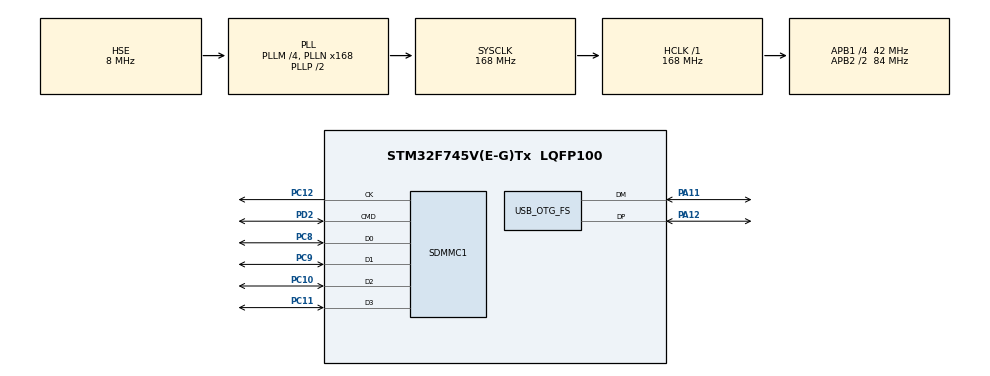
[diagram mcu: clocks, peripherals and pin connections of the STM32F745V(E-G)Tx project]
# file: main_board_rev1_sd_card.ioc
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Dma.Request0=SDMMC1_RX
Dma.Request1=SDMMC1_TX
Dma.SDMMC1_RX.0.Direction=DMA_PERIPH_TO_MEMORY
Dma.SDMMC1_RX.0.FIFOMode=DMA_FIFOMODE_ENABLE
Dma.SDMMC1_RX.0.FIFOThreshold=DMA_FIFO_THRESHOLD_FULL
Dma.SDMMC1_RX.0.Instance=DMA2_Stream3
Dma.SDMMC1_RX.0.MemBurst=DMA_MBURST_INC4
Dma.SDMMC1_RX.0.MemDataAlignment=DMA_MDATAALIGN_WORD
Dma.SDMMC1_RX.0.MemInc=DMA_MINC_ENABLE
Dma.SDMMC1_RX.0.Mode=DMA_PFCTRL
Dma.SDMMC1_RX.0.PeriphBurst=DMA_PBURST_INC4
Dma.SDMMC1_RX.0.PeriphDataAlignment=DMA_PDATAALIGN_WORD
Dma.SDMMC1_RX.0.PeriphInc=DMA_PINC_DISABLE
Dma.SDMMC1_RX.0.Priority=DMA_PRIORITY_LOW
Dma.SDMMC1_TX.1.Direction=DMA_MEMORY_TO_PERIPH
Dma.SDMMC1_TX.1.FIFOMode=DMA_FIFOMODE_ENABLE
Dma.SDMMC1_TX.1.FIFOThreshold=DMA_FIFO_THRESHOLD_FULL
Dma.SDMMC1_TX.1.Instance=DMA2_Stream6
Dma.SDMMC1_TX.1.MemBurst=DMA_MBURST_INC4
Dma.SDMMC1_TX.1.MemDataAlignment=DMA_MDATAALIGN_WORD
Dma.SDMMC1_TX.1.MemInc=DMA_MINC_ENABLE
Dma.SDMMC1_TX.1.Mode=DMA_PFCTRL
Dma.SDMMC1_TX.1.PeriphBurst=DMA_PBURST_INC4
Dma.SDMMC1_TX.1.PeriphDataAlignment=DMA_PDATAALIGN_WORD
Dma.SDMMC1_TX.1.PeriphInc=DMA_PINC_DISABLE
Dma.SDMMC1_TX.1.Priority=DMA_PRIORITY_LOW
FATFS._USE_FIND=1
FREERTOS.Tasks01=defaultTask,24,128,StartDefaultTask,Default,NULL,Dynamic,NULL,NULL;task_template,24,1024,vTaskTemplate,As external,NULL,Static,task_templateBuffer,task_templateControlBlock;task_sd_card,24,1024,vTaskSdCard,As external,NULL,Static,task_sd_cardBuffer,task_sd_cardControlBlock;task_sens_read,24,1024,vTaskSensRead,As external,NULL,Static,task_sens_readBuffer,task_sens_readControlBlock
Mcu.Family=STM32F7
Mcu.Name=STM32F745V(E-G)Tx
Mcu.Package=LQFP100
NVIC.DMA2_Stream3_IRQn=true\:5\:0\:false\:false\:true\:true\:false\:true
NVIC.DMA2_Stream6_IRQn=true\:5\:0\:false\:false\:true\:true\:false\:true
NVIC.OTG_FS_IRQn=true\:5\:0\:false\:false\:true\:true\:false\:true
NVIC.PriorityGroup=NVIC_PRIORITYGROUP_4
NVIC.SDMMC1_IRQn=true\:5\:0\:false\:false\:true\:true\:true\:true
NVIC.TIM4_IRQn=true\:0\:0\:false\:false\:true\:false\:false\:true
NVIC.TimeBase=TIM4_IRQn
NVIC.TimeBaseIP=TIM4
PA11.Mode=Device_Only
PA11.Signal=USB_OTG_FS_DM
PA12.Mode=Device_Only
PA12.Signal=USB_OTG_FS_DP
PA13.Mode=Serial_Wire
PA13.Signal=SYS_JTMS-SWDIO
PA14.Mode=Serial_Wire
PA14.Signal=SYS_JTCK-SWCLK
PC10.GPIO_PuPd=GPIO_PULLUP
PC10.Mode=SD_4_bits_Wide_bus
PC10.Signal=SDMMC1_D2
PC11.GPIO_PuPd=GPIO_PULLUP
PC11.Mode=SD_4_bits_Wide_bus
PC11.Signal=SDMMC1_D3
PC12.Mode=SD_4_bits_Wide_bus
PC12.Signal=SDMMC1_CK
PC8.GPIO_PuPd=GPIO_PULLUP
PC8.Mode=SD_4_bits_Wide_bus
PC8.Signal=SDMMC1_D0
PC9.GPIO_PuPd=GPIO_PULLUP
PC9.Mode=SD_4_bits_Wide_bus
PC9.Signal=SDMMC1_D1
PD2.GPIO_PuPd=GPIO_PULLUP
PD2.Mode=SD_4_bits_Wide_bus
PD2.Signal=SDMMC1_CMD
PH0/OSC_IN.Mode=HSE-External-Oscillator
PH0/OSC_IN.Signal=RCC_OSC_IN
PH1/OSC_OUT.Mode=HSE-External-Oscillator
PH1/OSC_OUT.Signal=RCC_OSC_OUT
ProjectManager.HeapSize=0x200
ProjectManager.StackSize=0x400
ProjectManager.TargetToolchain=STM32CubeIDE
RCC.AHBFreq_Value=168000000
RCC.APB1CLKDivider=RCC_HCLK_DIV4
RCC.APB1Freq_Value=42000000
RCC.APB1TimFreq_Value=84000000
RCC.APB2CLKDivider=RCC_HCLK_DIV2
RCC.APB2Freq_Value=84000000
RCC.APB2TimFreq_Value=168000000
RCC.CortexFreq_Value=168000000
RCC.HCLKFreq_Value=168000000
RCC.HSE_VALUE=8000000
RCC.HSI_VALUE=16000000
RCC.LSE_VALUE=32768
RCC.PLLM=4
RCC.PLLN=168
RCC.PLLQ=7
RCC.SDMMCClockSelection=RCC_SDMMC1CLKSOURCE_CLK48
RCC.SYSCLKFreq_VALUE=168000000
RCC.SYSCLKSource=RCC_SYSCLKSOURCE_PLLCLK
RCC.USBFreq_Value=48000000
RCC.VCOOutputFreq_Value=336000000
USB_DEVICE.CLASS_NAME_FS=CDC
USB_DEVICE.VirtualMode-CDC_FS=Cdc
USB_DEVICE.VirtualModeFS=Cdc_FS
USB_OTG_FS.VirtualMode=Device_Only
VP_FATFS_VS_SDIO.Mode=SDIO
VP_FREERTOS_VS_CMSIS_V2.Mode=CMSIS_V2
VP_SYS_VS_tim4.Mode=TIM4
VP_USB_DEVICE_VS_USB_DEVICE_CDC_FS.Mode=CDC_FS
board=custom

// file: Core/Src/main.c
/* USER CODE BEGIN Header */
/**
  ******************************************************************************
  * @file           : main.c
  * @brief          : Main program body
  ******************************************************************************
  * @attention
  *
  * <h2><center>&copy; Copyright (c) 2020 STMicroelectronics.
  * All rights reserved.</center></h2>
  *
  * This software component is licensed by ST under BSD 3-Clause license,
  * the "License"; You may not use this file except in compliance with the
  * License. You may obtain a copy of the License at:
  *                        opensource.org/licenses/BSD-3-Clause
  *
  ******************************************************************************
  */
/* USER CODE END Header */

#include "main.h"
#include "cmsis_os.h"
#include "fatfs.h"
#include "usb_device.h"

/* USER CODE BEGIN Includes */
#include "util.h"
#include "tasks/task_template.h"
/* USER CODE END Includes */

typedef StaticTask_t osStaticThreadDef_t;

SD_HandleTypeDef hsd1;
DMA_HandleTypeDef hdma_sdmmc1_rx;
DMA_HandleTypeDef hdma_sdmmc1_tx;

/* Definitions for defaultTask */
osThreadId_t defaultTaskHandle;
const osThreadAttr_t defaultTask_attributes = {
  .name = "defaultTask",
  .priority = (osPriority_t) osPriorityNormal,
  .stack_size = 128 * 4
};
/* Definitions for task_template */
osThreadId_t task_templateHandle;
uint32_t task_templateBuffer[ 1024 ];
osStaticThreadDef_t task_templateControlBlock;
const osThreadAttr_t task_template_attributes = {
  .name = "task_template",
  .stack_mem = &task_templateBuffer[0],
  .stack_size = sizeof(task_templateBuffer),
  .cb_mem = &task_templateControlBlock,
  .cb_size = sizeof(task_templateControlBlock),
  .priority = (osPriority_t) osPriorityNormal,
};
/* Definitions for task_sd_card */
osThreadId_t task_sd_cardHandle;
uint32_t task_sd_cardBuffer[ 1024 ];
osStaticThreadDef_t task_sd_cardControlBlock;
const osThreadAttr_t task_sd_card_attributes = {
  .name = "task_sd_card",
  .stack_mem = &task_sd_cardBuffer[0],
  .stack_size = sizeof(task_sd_cardBuffer),
  .cb_mem = &task_sd_cardControlBlock,
  .cb_size = sizeof(task_sd_cardControlBlock),
  .priority = (osPriority_t) osPriorityNormal,
};
/* Definitions for task_sens_read */
osThreadId_t task_sens_readHandle;
uint32_t task_sens_readBuffer[ 1024 ];
osStaticThreadDef_t task_sens_readControlBlock;
const osThreadAttr_t task_sens_read_attributes = {
  .name = "task_sens_read",
  .stack_mem = &task_sens_readBuffer[0],
  .stack_size = sizeof(task_sens_readBuffer),
  .cb_mem = &task_sens_readControlBlock,
  .cb_size = sizeof(task_sens_readControlBlock),
  .priority = (osPriority_t) osPriorityNormal,
};
/* USER CODE BEGIN PV */
osMessageQueueId_t log_queue;
/* USER CODE END PV */

void SystemClock_Config(void);
static void MX_GPIO_Init(void);
static void MX_DMA_Init(void);
static void MX_SDMMC1_SD_Init(void);
void StartDefaultTask(void *argument);
extern void vTaskTemplate(void *argument);
extern void vTaskSdCard(void *argument);
extern void vTaskSensRead(void *argument);

int main(void)
{

  /* MCU Configuration--------------------------------------------------------*/

  /* Reset of all peripherals, Initializes the Flash interface and the Systick. */
  HAL_Init();

  /* Configure the system clock */
  SystemClock_Config();

  /* USER CODE BEGIN SysInit */
  (DBGMCU)->APB1FZ = 0x7E01BFF;
  (DBGMCU)->APB2FZ = 0x70003;
  /* init code for USB_DEVICE */
  MX_USB_DEVICE_Init();
  /* USER CODE END SysInit */

  /* Initialize all configured peripherals */
  MX_GPIO_Init();
  MX_DMA_Init();
  MX_SDMMC1_SD_Init();
  MX_FATFS_Init();

  /* Init scheduler */
  osKernelInitialize();

  /* USER CODE BEGIN RTOS_MUTEX */
  /* Print Mutex */

#ifdef DEBUG
  const osMutexAttr_t print_mutex_attr = {
    "print_mutex",                            // human readable mutex name
    osMutexPrioInherit,    					  // attr_bits
    NULL,                                     // memory for control block
    0U                                        // size for control block
  };
  print_mutex = osMutexNew(&print_mutex_attr);
#endif

  /* USER CODE END RTOS_MUTEX */

  /* USER CODE BEGIN RTOS_QUEUES */
  log_queue = osMessageQueueNew(LOG_QUEUE_SIZE, sizeof(log_entry_t), NULL);
  /* USER CODE END RTOS_QUEUES */

  /* Create the thread(s) */
  /* creation of defaultTask */
  defaultTaskHandle = osThreadNew(StartDefaultTask, NULL, &defaultTask_attributes);

  /* creation of task_template */
  task_templateHandle = osThreadNew(vTaskTemplate, NULL, &task_template_attributes);

  /* creation of task_sd_card */
  task_sd_cardHandle = osThreadNew(vTaskSdCard, NULL, &task_sd_card_attributes);

  /* creation of task_sens_read */
  task_sens_readHandle = osThreadNew(vTaskSensRead, NULL, &task_sens_read_attributes);

  /* Start scheduler */
  osKernelStart();

  /* We should never get here as control is now taken by the scheduler */
  /* Infinite loop */
  while (1)
  {

  }
}

void SystemClock_Config(void)
{
  RCC_OscInitTypeDef RCC_OscInitStruct = {0};
  RCC_ClkInitTypeDef RCC_ClkInitStruct = {0};
  RCC_PeriphCLKInitTypeDef PeriphClkInitStruct = {0};

  /** Configure the main internal regulator output voltage
  */
  __HAL_RCC_PWR_CLK_ENABLE();
  __HAL_PWR_VOLTAGESCALING_CONFIG(PWR_REGULATOR_VOLTAGE_SCALE2);
  /** Initializes the CPU, AHB and APB busses clocks
  */
  RCC_OscInitStruct.OscillatorType = RCC_OSCILLATORTYPE_HSE;
  RCC_OscInitStruct.HSEState = RCC_HSE_ON;
  RCC_OscInitStruct.PLL.PLLState = RCC_PLL_ON;
  RCC_OscInitStruct.PLL.PLLSource = RCC_PLLSOURCE_HSE;
  RCC_OscInitStruct.PLL.PLLM = 4;
  RCC_OscInitStruct.PLL.PLLN = 168;
  RCC_OscInitStruct.PLL.PLLP = RCC_PLLP_DIV2;
  RCC_OscInitStruct.PLL.PLLQ = 7;
  if (HAL_RCC_OscConfig(&RCC_OscInitStruct) != HAL_OK)
  {
    Error_Handler();
  }
  /** Initializes the CPU, AHB and APB busses clocks
  */
  RCC_ClkInitStruct.ClockType = RCC_CLOCKTYPE_HCLK|RCC_CLOCKTYPE_SYSCLK
                              |RCC_CLOCKTYPE_PCLK1|RCC_CLOCKTYPE_PCLK2;
  RCC_ClkInitStruct.SYSCLKSource = RCC_SYSCLKSOURCE_PLLCLK;
  RCC_ClkInitStruct.AHBCLKDivider = RCC_SYSCLK_DIV1;
  RCC_ClkInitStruct.APB1CLKDivider = RCC_HCLK_DIV4;
  RCC_ClkInitStruct.APB2CLKDivider = RCC_HCLK_DIV2;

  if (HAL_RCC_ClockConfig(&RCC_ClkInitStruct, FLASH_LATENCY_5) != HAL_OK)
  {
    Error_Handler();
  }
  PeriphClkInitStruct.PeriphClockSelection = RCC_PERIPHCLK_SDMMC1|RCC_PERIPHCLK_CLK48;
  PeriphClkInitStruct.Clk48ClockSelection = RCC_CLK48SOURCE_PLL;
  PeriphClkInitStruct.Sdmmc1ClockSelection = RCC_SDMMC1CLKSOURCE_CLK48;
  if (HAL_RCCEx_PeriphCLKConfig(&PeriphClkInitStruct) != HAL_OK)
  {
    Error_Handler();
  }
}

static void MX_SDMMC1_SD_Init(void)
{

  hsd1.Instance = SDMMC1;
  hsd1.Init.ClockEdge = SDMMC_CLOCK_EDGE_RISING;
  hsd1.Init.ClockBypass = SDMMC_CLOCK_BYPASS_DISABLE;
  hsd1.Init.ClockPowerSave = SDMMC_CLOCK_POWER_SAVE_DISABLE;
  hsd1.Init.BusWide = SDMMC_BUS_WIDE_1B;
  hsd1.Init.HardwareFlowControl = SDMMC_HARDWARE_FLOW_CONTROL_DISABLE;
  hsd1.Init.ClockDiv = 0;

}

static void MX_DMA_Init(void)
{

  /* DMA controller clock enable */
  __HAL_RCC_DMA2_CLK_ENABLE();

  /* DMA interrupt init */
  /* DMA2_Stream3_IRQn interrupt configuration */
  HAL_NVIC_SetPriority(DMA2_Stream3_IRQn, 5, 0);
  HAL_NVIC_EnableIRQ(DMA2_Stream3_IRQn);
  /* DMA2_Stream6_IRQn interrupt configuration */
  HAL_NVIC_SetPriority(DMA2_Stream6_IRQn, 5, 0);
  HAL_NVIC_EnableIRQ(DMA2_Stream6_IRQn);

}

static void MX_GPIO_Init(void)
{

  /* GPIO Ports Clock Enable */
  __HAL_RCC_GPIOH_CLK_ENABLE();
  __HAL_RCC_GPIOC_CLK_ENABLE();
  __HAL_RCC_GPIOA_CLK_ENABLE();
  __HAL_RCC_GPIOD_CLK_ENABLE();

}

void StartDefaultTask(void *argument)
{
  /* init code for USB_DEVICE */
  //MX_USB_DEVICE_Init();
  for(;;)
  {
    osDelay(1);
  }
}

 /**
  * @brief  Period elapsed callback in non blocking mode
  * @note   This function is called  when TIM4 interrupt took place, inside
  * HAL_TIM_IRQHandler(). It makes a direct call to HAL_IncTick() to increment
  * a global variable "uwTick" used as application time base.
  * @param  htim : TIM handle
  * @retval None
  */
void HAL_TIM_PeriodElapsedCallback(TIM_HandleTypeDef *htim)
{
  if (htim->Instance == TIM4) {
    HAL_IncTick();
  }
}

void Error_Handler(void)
{
}

/************************ (C) COPYRIGHT STMicroelectronics *****END OF FILE****/
